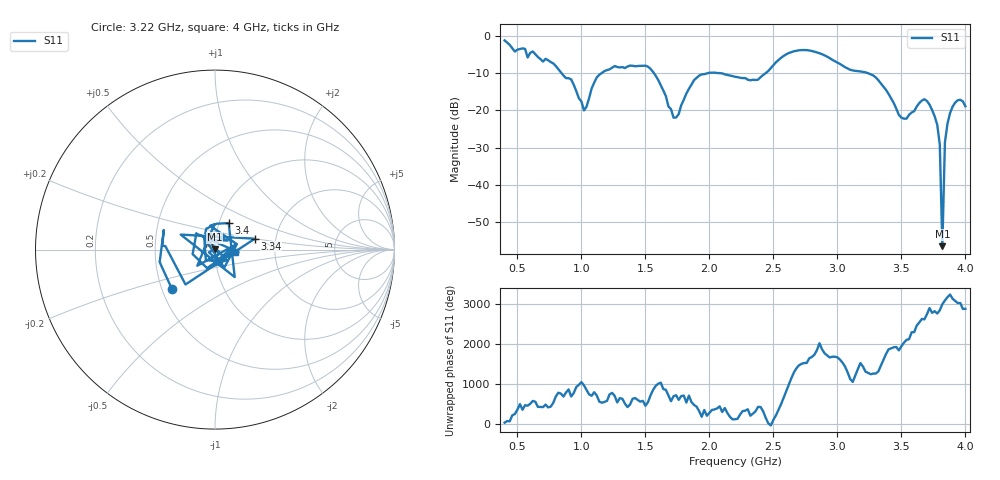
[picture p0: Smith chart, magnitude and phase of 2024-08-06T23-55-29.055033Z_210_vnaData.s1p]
!Created with skrf (http://scikit-rf.org).
# Hz S RI R 50.0
!freq ReS11 ImS11
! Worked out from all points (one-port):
!   181 points, 400 MHz to 4 GHz, reference 50 ohm
!   lowest |S11| = -56.5 dB at 3.82 GHz (marker M1), VSWR 1.00, Z = 49.9 + j0.14 ohm
!   |S11| at or under -10 dB: 1.567 GHz to 1.986 GHz (419.3 MHz wide, 23.6 % of centre); 2.087 GHz to 2.439 GHz (352.5 MHz wide, 15.6 % of centre); 3.24 GHz to end of sweep (the widest 3 of 4)
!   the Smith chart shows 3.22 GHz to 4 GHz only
!   S11 on the Smith chart (normalised r, x): 3.22 GHz: 0.56, -0.27; 3.34 GHz: 1.55, +0.20; 3.4 GHz: 1.11, +0.34; 4 GHz: 1.25, -0.03
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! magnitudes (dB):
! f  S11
! 400 MHz  -1.2
! 860 MHz  -10.6
! 920 MHz  -11.7
! 1.02 GHz  -20.0
! 1.12 GHz  -11.1
! 1.3 GHz  -8.5
! 1.52 GHz  -8.2
! 1.6 GHz  -11.8
! 1.72 GHz  -22.0
! 1.76 GHz  -21.0
! 1.92 GHz  -10.6
! 2.2 GHz  -11.0
! 2.38 GHz  -11.7
! 2.66 GHz  -4.1
! 3.1 GHz  -9.1
! 3.22 GHz  -9.8
! 3.34 GHz  -12.8
! 3.4 GHz  -15.6
! 3.5 GHz  -22.0
! 3.56 GHz  -21.2
! 3.68 GHz  -17.0
! 3.78 GHz  -23.9
! 3.8 GHz  -29.2
! 3.82 GHz  -56.5
! 3.84 GHz  -28.6
! 3.86 GHz  -23.6
! 3.92 GHz  -17.9
! 4 GHz  -18.9
